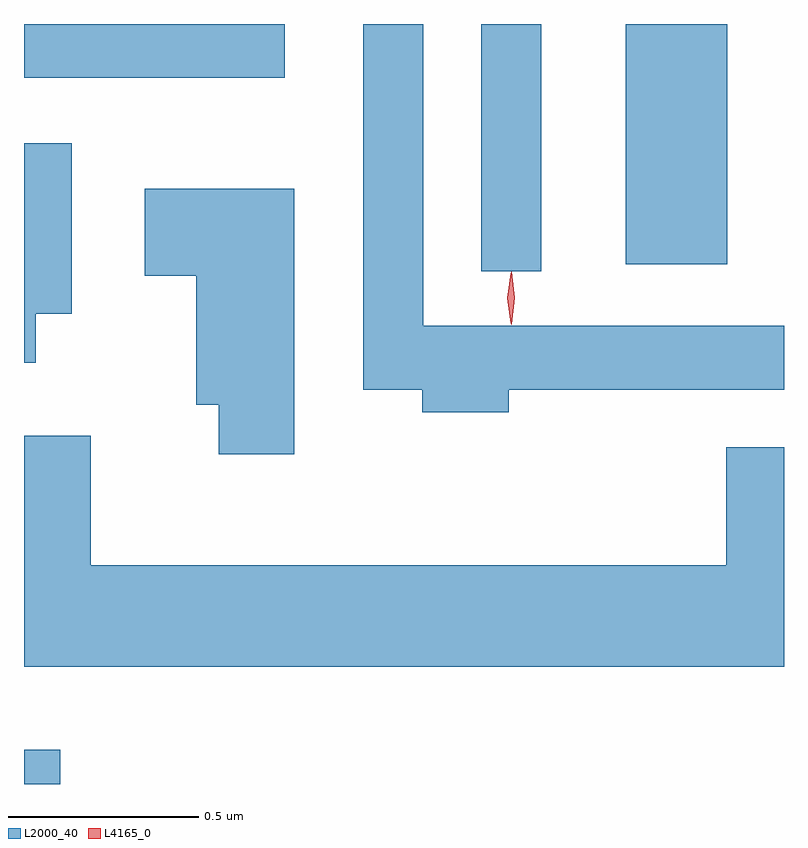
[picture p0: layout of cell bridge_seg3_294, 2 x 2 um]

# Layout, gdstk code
import gdstk
lib = gdstk.Library(unit=1e-6, precision=1e-09)
def R(c, l, rs):  # rectangles x0, y0, x1, y1
    for r in rs: c.add(gdstk.rectangle(r[:2], r[2:], *l))
def P(c, l, *ps):  # polygons
    for p in ps: c.add(gdstk.Polygon(p, *l))
L2000_40 = (2000, 40)
L4165_0 = (4165, 0)

bridge_seg3_294 = lib.new_cell('bridge_seg3_294')
R(bridge_seg3_294, L2000_40, [(1065.783,1116.828,1065.879,1116.918), (1066.986,1118.178,1067.144,1118.828), (1067.366,1118.196,1067.634,1118.828), (1065.783,1118.686,1066.469,1118.828)])
P(bridge_seg3_294, L2000_40, [(1067.059,1117.866),(1067.783,1117.866),(1067.783,1118.034),(1066.834,1118.034),(1066.834,1118.828),(1066.676,1118.828),(1066.676,1117.866),(1066.831,1117.866),(1066.831,1117.806),(1067.059,1117.806)],
  [(1065.814,1118.066),(1065.909,1118.066),(1065.909,1118.514),(1065.783,1118.514),(1065.783,1117.936),(1065.814,1117.936)],
  [(1066.494,1118.394),(1066.101,1118.394),(1066.101,1118.166),(1066.236,1118.166),(1066.236,1117.826),(1066.296,1117.826),(1066.296,1117.696),(1066.494,1117.696)],
  [(1067.783,1117.714),(1067.631,1117.714),(1067.631,1117.404),(1065.959,1117.404),(1065.959,1117.744),(1065.783,1117.744),(1065.783,1117.136),(1067.783,1117.136)])
P(bridge_seg3_294, L4165_0, [(1067.065,1118.037),(1067.065,1118.038),(1067.055,1118.107),(1067.065,1118.176),(1067.065,1118.176),(1067.066,1118.176),(1067.075,1118.107),(1067.066,1118.038)],
  [(1067.064,1118.04),(1067.064,1118.04),(1067.055,1118.106),(1067.064,1118.172),(1067.065,1118.173),(1067.065,1118.172),(1067.074,1118.106),(1067.065,1118.04)])

lib.write_gds('bridge_seg3_294.gds')
